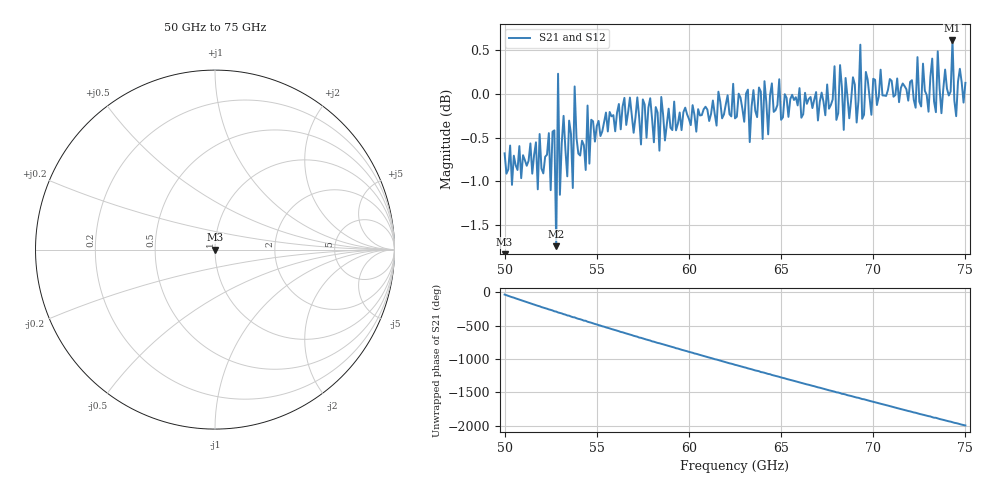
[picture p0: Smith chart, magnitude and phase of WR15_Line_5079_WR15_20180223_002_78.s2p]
# GHZ S RI R 50
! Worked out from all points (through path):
!   251 points, 50 GHz to 75 GHz, reference 50 ohm
!   highest |S21| = 0.61 dB at 74.3 GHz (marker M1); lowest = -1.7 dB at 52.8 GHz (marker M2)
!   lowest |S11| = - dB at 50 GHz (marker M3), VSWR 1.00, Z = 50 - j1.32e-15 ohm
!   |S11| at or under -10 dB: start of sweep to end of sweep
!   |S22| runs from - to - dB; largest |S21 - S12| = 1.5e-15
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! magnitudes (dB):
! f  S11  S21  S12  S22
! 50 GHz  -  -0.7  -0.7  -
! 52.4 GHz  -  -0.4  -0.4  -
! 52.5 GHz  -  -1.1  -1.1  -
! 52.7 GHz  -  -0.4  -0.4  -
! 52.8 GHz  -  -1.7  -1.7  -
! 52.9 GHz  -  0.2  0.2  -
! 53 GHz  -  -1.2  -1.2  -
! 53.2 GHz  -  -0.3  -0.3  -
! 53.7 GHz  -  -1.1  -1.1  -
! 53.8 GHz  -  0.1  0.1  -
! 54.2 GHz  -  -0.5  -0.5  -
! 58.4 GHz  -  -0.6  -0.6  -
! 58.5 GHz  -  0.0  0.0  -
! 62.5 GHz  -  -0.3  -0.3  -
! 66.7 GHz  -  -0.2  -0.2  -
! 70.9 GHz  -  0.2  0.2  -
! 73.4 GHz  -  -0.2  -0.2  -
! 73.5 GHz  -  0.5  0.5  -
! 73.7 GHz  -  -0.2  -0.2  -
! 74.3 GHz  -  0.6  0.6  -
! 74.5 GHz  -  -0.3  -0.3  -
! 75 GHz  -  0.1  0.1  -
